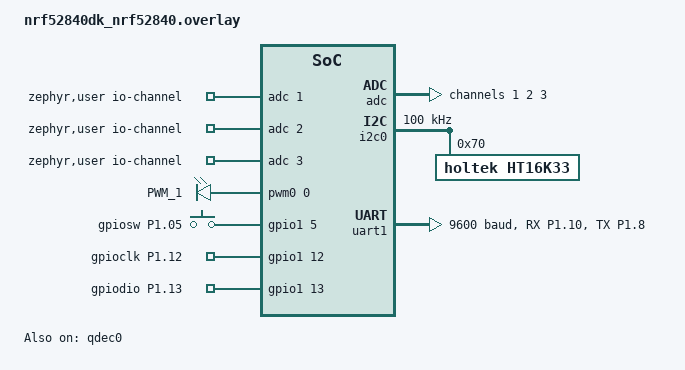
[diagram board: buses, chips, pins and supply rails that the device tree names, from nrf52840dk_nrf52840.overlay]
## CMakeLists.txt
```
cmake_minimum_required(VERSION 3.20.0)
find_package(Zephyr REQUIRED HINTS $ENV{ZEPHYR_BASE})

project(final_project)

FILE(GLOB app_sources src/*.c)
target_sources(app PRIVATE ${app_sources} src/map.s)
```

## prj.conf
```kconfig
CONFIG_SENSOR=y
CONFIG_PRINTK=y

CONFIG_ADC=y
CONFIG_GPIO=y
CONFIG_UART_INTERRUPT_DRIVEN=y
CONFIG_UART_ASYNC_API=y
CONFIG_LOG=y
CONFIG_I2C=y
CONFIG_LED=y
CONFIG_PWM=y
CONFIG_KSCAN=y
CONFIG_KSCAN_INIT_PRIORITY=95
CONFIG_HT16K33_KEYSCAN=y

CONFIG_USE_SEGGER_RTT=y
CONFIG_RTT_CONSOLE=y

CONFIG_BT=y
CONFIG_BT_DEBUG_LOG=y
CONFIG_BT_L2CAP_TX_BUF_COUNT=5
CONFIG_BT_PERIPHERAL=y


CONFIG_BT_DEVICE_NAME="My_Device"
CONFIG_BT_DEVICE_APPEARANCE=962

CONFIG_HEAP_MEM_POOL_SIZE=2048

# This example requires more workqueue stack
CONFIG_SYSTEM_WORKQUEUE_STACK_SIZE=2048
```

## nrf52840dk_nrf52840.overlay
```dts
// To get started, press Ctrl+Space (or Option+Esc) to bring up the completion menu and view the available nodes.

// You can also use the buttons in the sidebar to perform actions on nodes.
// Actions currently available include:

// * Enabling / disabling the node
// * Adding the bus to a bus
// * Removing the node
// * Connecting ADC channels

// For more help, browse the DeviceTree documentation at https://docs.zephyrproject.org/latest/guides/dts/index.html
// You can also visit the nRF DeviceTree extension documentation at https://nrfconnect.github.io/vscode-nrf-connect/devicetree/nrfdevicetree.html

// For JoyStick

/ {
    zephyr,user {
        io-channels = <&adc 1>, <&adc 2>, <&adc 3>;
    };

    pwmbuzzer {
        compatible = "pwm-leds";
        status = "okay";

        buzzer: buzzer_pwm {
            pwms = <&pwm0 0 PWM_MSEC(880) PWM_POLARITY_NORMAL>;
            label = "PWM_1";
        };
    };

		gpiocustom{
			status = "okay";
			compatible = "gpio-keys";
			gpiosw: gpiosw {
				gpios = <&gpio1 5 (GPIO_PULL_UP)>;
				label = "gpiosw P1.05";
			};

			gpioclk: gpioclk{
				gpios = <&gpio1 12 GPIO_ACTIVE_HIGH>;
				label = "gpioclk P1.12";
			};

			gpiodio: gpiodio{
				gpios = <&gpio1 13 GPIO_ACTIVE_HIGH>;
				label = "gpiodio P1.13";
			};
		};

		aliases {
			myserial = &uart1;
			gpio-clk = &gpioclk;
			gpio-dio = &gpiodio;
			qdec0 = &qdec0;
			gpio-sw = &gpiosw;
		};
};


&adc {
    #address-cells = <1>;
    #size-cells = <0>;

    channel@1 {
        reg = <1>;
        zephyr,gain = "ADC_GAIN_1";
        zephyr,reference = "ADC_REF_INTERNAL";
        zephyr,acquisition-time = <ADC_ACQ_TIME_DEFAULT>;
        zephyr,input-positive = <NRF_SAADC_AIN1>; /* P0.03 */
        zephyr,resolution = <10>;
        // zephyr,differential;
    };

    channel@2 {
        reg = <2>;
        zephyr,gain = "ADC_GAIN_1";
        zephyr,reference = "ADC_REF_INTERNAL";
        zephyr,acquisition-time = <ADC_ACQ_TIME_DEFAULT>;
        zephyr,input-positive = <NRF_SAADC_AIN2>; /* P0.04 */
        zephyr,resolution = <10>;
        // zephyr,differential;
    };

		channel@3 {
			reg = <3>;
			zephyr,gain = "ADC_GAIN_1";
			zephyr,reference = "ADC_REF_INTERNAL";
			zephyr,acquisition-time = <ADC_ACQ_TIME_DEFAULT>;
			zephyr,input-positive = <NRF_SAADC_AIN4>; /* A2 핀 */
			zephyr,resolution = <10>;
		};
};

// For Rotary Encoder

&pinctrl {
	qdec_pinctrl: qdec_pinctrl {
		group1 {
			psels = <NRF_PSEL(QDEC_A, 1, 4)>,   /* Arduino D3 */
				<NRF_PSEL(QDEC_B, 1, 3)>;   /* Arduino D2 */
		};
	};

	uart1_default: uart1_default {
		group1 {
			psels = <NRF_PSEL(UART_RX, 1, 10)>;
			bias-pull-up;
		};
		group2 {
			psels = <NRF_PSEL(UART_TX, 1, 8)>;
		};
	};

	uart1_sleep: uart1_sleep {
		group1 {
			psels = <NRF_PSEL(UART_RX, 1, 10)>,
				<NRF_PSEL(UART_TX, 1, 11)>;
			low-power-enable;
		};
	};
};

&qdec0 {
	status = "okay";
	pinctrl-0 = <&qdec_pinctrl>;
	pinctrl-names = "default";
	steps = < 20 >;
	led-pre = < 500 >;
};

// For battery display

&spi3 {
	status = "disabled";
};

// For LED Matrix


&i2c0 {
	clock-frequency = <I2C_BITRATE_STANDARD>;

	ht16k33@70 {
		compatible = "holtek,ht16k33";
		reg = <0x70>;

		keyscan {
			compatible = "holtek,ht16k33-keyscan";
		};
	};
};

// For CO2 sensor
arduino_serial: &uart1 {
	status = "okay";
	compatible = "nordic,nrf-uart";
	current-speed = <9600>;
	pinctrl-0 = <&uart1_default>;
	pinctrl-1 = <&uart1_sleep>;
	pinctrl-names = "default", "sleep";
};
```

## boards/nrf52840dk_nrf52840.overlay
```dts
// To get started, press Ctrl+Space (or Option+Esc) to bring up the completion menu and view the available nodes.

// You can also use the buttons in the sidebar to perform actions on nodes.
// Actions currently available include:

// * Enabling / disabling the node
// * Adding the bus to a bus
// * Removing the node
// * Connecting ADC channels

// For more help, browse the DeviceTree documentation at https://docs.zephyrproject.org/latest/guides/dts/index.html
// You can also visit the nRF DeviceTree extension documentation at https://nrfconnect.github.io/vscode-nrf-connect/devicetree/nrfdevicetree.html

// For JoyStick

/ {
    zephyr,user {
        io-channels = <&adc 1>, <&adc 2>, <&adc 3>;
    };

    pwmbuzzer {
        compatible = "pwm-leds";
        status = "okay";

        buzzer: buzzer_pwm {
            pwms = <&pwm0 0 PWM_MSEC(880) PWM_POLARITY_NORMAL>;
            label = "PWM_1";
        };
    };

		gpiocustom{
			status = "okay";
			compatible = "gpio-keys";
			gpiosw: gpiosw {
				gpios = <&gpio1 5 (GPIO_PULL_UP)>;
				label = "gpiosw P1.05";
			};

			gpioclk: gpioclk{
				gpios = <&gpio1 12 GPIO_ACTIVE_HIGH>;
				label = "gpioclk P1.12";
			};

			gpiodio: gpiodio{
				gpios = <&gpio1 13 GPIO_ACTIVE_HIGH>;
				label = "gpiodio P1.13";
			};
		};

		aliases {
			myserial = &uart1;
			gpio-clk = &gpioclk;
			gpio-dio = &gpiodio;
			qdec0 = &qdec0;
			gpio-sw = &gpiosw;
		};
};


&adc {
    #address-cells = <1>;
    #size-cells = <0>;

    channel@1 {
        reg = <1>;
        zephyr,gain = "ADC_GAIN_1";
        zephyr,reference = "ADC_REF_INTERNAL";
        zephyr,acquisition-time = <ADC_ACQ_TIME_DEFAULT>;
        zephyr,input-positive = <NRF_SAADC_AIN1>; /* P0.03 */
        zephyr,resolution = <10>;
        // zephyr,differential;
    };

    channel@2 {
        reg = <2>;
        zephyr,gain = "ADC_GAIN_1";
        zephyr,reference = "ADC_REF_INTERNAL";
        zephyr,acquisition-time = <ADC_ACQ_TIME_DEFAULT>;
        zephyr,input-positive = <NRF_SAADC_AIN2>; /* P0.04 */
        zephyr,resolution = <10>;
        // zephyr,differential;
    };

		channel@3 {
			reg = <3>;
			zephyr,gain = "ADC_GAIN_1";
			zephyr,reference = "ADC_REF_INTERNAL";
			zephyr,acquisition-time = <ADC_ACQ_TIME_DEFAULT>;
			zephyr,input-positive = <NRF_SAADC_AIN4>; /* A2 핀 */
			zephyr,resolution = <10>;
		};
};

// For Rotary Encoder

&pinctrl {
	qdec_pinctrl: qdec_pinctrl {
		group1 {
			psels = <NRF_PSEL(QDEC_A, 1, 4)>,   /* Arduino D3 */
				<NRF_PSEL(QDEC_B, 1, 3)>;   /* Arduino D2 */
		};
	};

	uart1_default: uart1_default {
		group1 {
			psels = <NRF_PSEL(UART_RX, 1, 10)>;
			bias-pull-up;
		};
		group2 {
			psels = <NRF_PSEL(UART_TX, 1, 8)>;
		};
	};

	uart1_sleep: uart1_sleep {
		group1 {
			psels = <NRF_PSEL(UART_RX, 1, 10)>,
				<NRF_PSEL(UART_TX, 1, 11)>;
			low-power-enable;
		};
	};
};

&qdec0 {
	status = "okay";
	pinctrl-0 = <&qdec_pinctrl>;
	pinctrl-names = "default";
	steps = < 20 >;
	led-pre = < 500 >;
};

// For battery display

&spi3 {
	status = "disabled";
};

// For LED Matrix


&i2c0 {
	clock-frequency = <I2C_BITRATE_STANDARD>;

	ht16k33@70 {
		compatible = "holtek,ht16k33";
		reg = <0x70>;

		keyscan {
			compatible = "holtek,ht16k33-keyscan";
		};
	};
};

// For CO2 sensor
arduino_serial: &uart1 {
	status = "okay";
	compatible = "nordic,nrf-uart";
	current-speed = <9600>;
	pinctrl-0 = <&uart1_default>;
	pinctrl-1 = <&uart1_sleep>;
	pinctrl-names = "default", "sleep";
};
```

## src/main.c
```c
#include <zephyr/kernel.h>
#include <zephyr/device.h>
#include <zephyr/devicetree.h>
#include <zephyr/sys/util.h>

#include "./include/led.h"
#include "./include/value.h"
#include "./include/gpios.h"
#include "./include/timer.h"
#include "./include/joy.h"
#include "./include/buzzer.h"
#include "./include/rotary.h"
#include "./include/batteryDisplay.h"
#include "./include/co2.h"
#include "./include/sound.h"
#include "./include/ble.h"

int busy;

int configuration(){

        int ret = DK_OK;
        busy = 0;

        // LED and buttons configuration (NRF52840's)
        ret = gpio_init();
        if (ret != DK_OK) {
            return DK_ERR;
        }

        // LED Matrix configuration
        ret = led_init();
        if(ret != DK_OK){
                printk("Error initializing LED\n");
                return DK_ERR;
        }

        // Init joystick
        ret = joystick_init();
        if (ret != DK_OK) {
                printk("Error initializing Joystick\n");
                return DK_ERR;
        }

        ret = buzzer_init();
        if (ret != DK_OK) {
                printk("Error initializing Buzzer\n");
                return DK_ERR;
        }

        // 로터리 인코더 초기화
        ret = rotary_init(); // rotary thread 시작
        if (ret != 0) {
                printk("Error initializing Rotary\n");
                return DK_ERR;
        } 
        
        // 배터리 디스플레이 초기화
        ret = batterydisplay_init();
        if(ret != DK_OK){
                printk("Error initializing battery display\n");
                return DK_ERR;
        }

        // INIT CO2
        ret = co2_init();
        if(ret != DK_OK){
                printk("Error initializing CO2\n");
                return DK_ERR;
        }

        // INIT sound sensor
        ret = sound_init();
        if(ret != DK_OK){
                printk("Error initializing Sound Sensor\n");
                return DK_ERR;
        }

        // INIT BLE
        ret = ble_init();
        if(ret != DK_OK){
                printk("Error initializing BLE\n");
                return DK_ERR;
        }

        display_clear();
        return DK_OK;
}

int main(void)
{
        
        printk("Program Start\n");

        int ret = configuration();
        if(ret == DK_ERR){
                printk("Configuration Error");
                return DK_ERR;
        }
        
        while(1) {
                if(!busy){
                        led_on_status(WAIT);
                }
                k_sleep(K_MSEC(100));
        }

        printk("End of main!");
        return DK_OK;
}
```

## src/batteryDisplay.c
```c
#include "./include/batteryDisplay.h"
#include "./include/value.h"

static int8_t leveltab[9] = {0x00,0x40,0x60,0x70,0x78,0x7c,0x7e,0x7f};//Level 0~7
static uint8_t cmd_dispctrl = DISPLAY_BRIGHTEST + BRIGHTNESS_LEVEL1;
static int setlevel = 0;

int batterydisplay_init(void)
{
    if (!gpio_is_ready_dt(&clk)) {
        printk("clk GPIO is not ready\n");
        return DK_ERR;
    }

    if (!gpio_is_ready_dt(&dio)) {
        printk("dio GPIO is not ready\n");
        return DK_ERR;
    }

    display_clear();
    printk("batterydisplay_init success\n");

    return DK_OK;
}

void set_brightness(int brightness)
{
    cmd_dispctrl = DISPLAY_BRIGHTEST + brightness;
}

void set_level(int level)
{
    setlevel = level;
}

void write_byte(int8_t wr_data)
{
    uint8_t data = wr_data;

    for (uint8_t i = 0; i < 8; i++) {
        gpio_pin_configure_dt(&clk, GPIO_OUTPUT);
        bit_delay();

        if (data & 0x01)
            gpio_pin_configure_dt(&dio, GPIO_INPUT);
        else
            gpio_pin_configure_dt(&dio, GPIO_OUTPUT);

        bit_delay();

        gpio_pin_configure_dt(&clk, GPIO_INPUT);
        bit_delay();

        data >>= 1;
    }

    gpio_pin_configure_dt(&clk, GPIO_OUTPUT);
    gpio_pin_configure_dt(&dio, GPIO_INPUT);
    bit_delay();

    gpio_pin_configure_dt(&clk, GPIO_INPUT);
    bit_delay();
    uint8_t ack = gpio_pin_get_dt(&dio);
    if (ack == 0) {
        gpio_pin_configure_dt(&dio, GPIO_OUTPUT);
    }

    bit_delay();
    gpio_pin_configure_dt(&clk, GPIO_OUTPUT);
    bit_delay();
}

void start(void)
{
    gpio_pin_configure_dt(&dio, GPIO_OUTPUT);
    bit_delay();
}

void stop(void)
{
    gpio_pin_configure_dt(&dio, GPIO_OUTPUT);
    bit_delay();

    gpio_pin_configure_dt(&clk, GPIO_INPUT);
    bit_delay();

    gpio_pin_configure_dt(&dio, GPIO_INPUT);
    bit_delay();
}

int display_level(uint8_t level)
{
    if(level > 7){
        printk("Invalid level\n");
        return DK_ERR;
    }

    if( setlevel == level){
        // printk("Same level\n");
        return DK_OK;
    }

    set_level(level);
    //printk("display_level: %d\n", level);

    start();
    write_byte(ADDR_FIXED);
    stop();

    start();
    write_byte(ADDR_CMD_00H);
    write_byte(leveltab[level]);
    stop();

    start();
    write_byte(cmd_dispctrl);
    stop();

    //printk("display_level success\n");

    return DK_OK;
}

void display_frame(bool frameflag)
{
    int8_t segdata;
    if (frameflag == FRAME_ON)
        segdata = 0x40;
    else
        segdata = 0x00;

    start();
    write_byte(ADDR_AUTO);
    stop();

    start();
    write_byte(ADDR_CMD_01H);
    for (uint8_t i = 0; i < 3; i++) {
        write_byte(segdata);
    }
    stop();

    start();
    write_byte(cmd_dispctrl);
    stop();
}

void display_clear(void)
{
    display_level(0);
    display_frame(FRAME_OFF);
}

void bit_delay(void)
{
    k_sleep(K_TICKS(1));
}
```

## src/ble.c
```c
#include <zephyr/types.h>
#include <stddef.h>
#include <string.h>
#include <errno.h>
#include <zephyr/sys/printk.h>
#include <zephyr/sys/byteorder.h>
#include <soc.h>

#include <zephyr/bluetooth/bluetooth.h>
#include <zephyr/bluetooth/hci.h>
#include <zephyr/bluetooth/conn.h>
#include <zephyr/bluetooth/uuid.h>
#include <zephyr/bluetooth/gatt.h>

#include "./include/ble.h"

static uint8_t mfg_data[] = { 0xff, 0xff, 0x00 };

#define BT_UUID_MY_SERVICE      BT_UUID_DECLARE_128(MY_SERVICE_UUID)
#define BT_UUID_MY_SERVICE_RX   BT_UUID_DECLARE_128(RX_CHARACTERISTIC_UUID)
#define BT_UUID_MY_SERVICE_TX   BT_UUID_DECLARE_128(TX_CHARACTERISTIC_UUID)

#define MAX_TRANSMIT_SIZE 240

uint8_t data_rx[MAX_TRANSMIT_SIZE];
uint8_t data_tx[MAX_TRANSMIT_SIZE];

static const struct bt_data ad[] = {
    BT_DATA(BT_DATA_MANUFACTURER_DATA, mfg_data, 3),
};

static const struct bt_data sd[] =
    {
        BT_DATA_BYTES(BT_DATA_UUID128_ALL, MY_SERVICE_UUID),
    };

struct bt_conn *my_connection;
struct k_sem ble_init_ok;

int my_service_init(void)
{
    int err = 0;

    memset(&data_rx, 0, MAX_TRANSMIT_SIZE);
    memset(&data_tx, 0, MAX_TRANSMIT_SIZE);

    return err;
}

static ssize_t on_receive(struct bt_conn *conn,
                          const struct bt_gatt_attr *attr,
                          const void *buf,
                          uint16_t len,
                          uint16_t offset,
                          uint8_t flags)
{
    const uint8_t *buffer = buf;

    printk("Received data, handle %d, conn %p, data: 0x", attr->handle, conn);
    for (uint8_t i = 0; i < len; i++)
    {
        printk("%02X", buffer[i]);
    }
    printk("\n");

    return len;
}

static void on_sent(struct bt_conn *conn, void *user_data)
{
    ARG_UNUSED(user_data);

    const bt_addr_le_t *addr = bt_conn_get_dst(conn);

    printk("Data sent to Address 0x %02X %02X %02X %02X %02X %02X \n", addr->a.val[0],
                                                                     addr->a.val[1],
                                                                     addr->a.val[2],
                                                                     addr->a.val[3],
                                                                     addr->a.val[4],
                                                                     addr->a.val[5]);
}

void on_cccd_changed(const struct bt_gatt_attr *attr, uint16_t value)
{
    ARG_UNUSED(attr);
    switch (value)
    {
    case BT_GATT_CCC_NOTIFY:
        // Start sending stuff!
        break;

    case BT_GATT_CCC_INDICATE:
        // Start sending stuff via indications
        break;

    case 0:
        // Stop sending stuff
        break;

    default:
        printk("Error, CCCD has been set to an invalid value");
    }
}

BT_GATT_SERVICE_DEFINE(my_service,
                       BT_GATT_PRIMARY_SERVICE(BT_UUID_MY_SERVICE),
                       BT_GATT_CHARACTERISTIC(BT_UUID_MY_SERVICE_RX,
                                              BT_GATT_CHRC_WRITE | BT_GATT_CHRC_WRITE_WITHOUT_RESP,
                                              BT_GATT_PERM_READ | BT_GATT_PERM_WRITE,
                                              NULL, on_receive, NULL),
                       BT_GATT_CHARACTERISTIC(BT_UUID_MY_SERVICE_TX,
                                              BT_GATT_CHRC_NOTIFY,
                                              BT_GATT_PERM_READ,
                                              NULL, NULL, NULL),
                       BT_GATT_CCC(on_cccd_changed,
                                   BT_GATT_PERM_READ | BT_GATT_PERM_WRITE), );

void my_service_send(struct bt_conn *conn, const uint32_t *data, uint16_t len)
{
    const struct bt_gatt_attr *attr = &my_service.attrs[3];

    struct bt_gatt_notify_params params =
        {
            .uuid = BT_UUID_MY_SERVICE_TX,
            .attr = attr,
            .data = data,
            .len = len,
            .func = on_sent};

    if (bt_gatt_is_subscribed(conn, attr, BT_GATT_CCC_NOTIFY))
    {
        if (bt_gatt_notify_cb(conn, &params))
        {
            printk("Error, unable to send notification\n");
        }
    }
    else
    {
        printk("Warning, notification not enabled on the selected attribute\n");
    }
}

static void connected(struct bt_conn *conn, uint8_t err)
{
    struct bt_conn_info info;
    char addr[BT_ADDR_LE_STR_LEN];

    my_connection = conn;

    if (err)
    {
        printk("Connection failed (err %u)\n", err);
        return;
    }
    else if (bt_conn_get_info(conn, &info))
    {
        printk("Could not parse connection info\n");
    }
    else
    {
        bt_addr_le_to_str(bt_conn_get_dst(conn), addr, sizeof(addr));

        printk("Connection established!     \n\
        Connected to: %s                    \n\
        Role: %u                            \n\
        Connection interval: %u             \n\
        Slave latency: %u                   \n\
        Connection supervisory timeout: %u  \n",
               addr, info.role, info.le.interval, info.le.latency, info.le.timeout);
    }
}

static void disconnected(struct bt_conn *conn, uint8_t reason)
{
    printk("Disconnected (reason %u)\n", reason);
}

static bool le_param_req(struct bt_conn *conn, struct bt_le_conn_param *param)
{
    return true;
}

static void le_param_updated(struct bt_conn *conn, uint16_t interval, uint16_t latency, uint16_t timeout)
{
    struct bt_conn_info info;
    char addr[BT_ADDR_LE_STR_LEN];

    if (bt_conn_get_info(conn, &info))
    {
        printk("Could not parse connection info\n");
    }
    else
    {
        bt_addr_le_to_str(bt_conn_get_dst(conn), addr, sizeof(addr));

        printk("Connection parameters updated!  \n\
        Connected to: %s                        \n\
        New Connection Interval: %u             \n\
        New Slave Latency: %u                   \n\
        New Connection Supervisory Timeout: %u  \n",
               addr, info.le.interval, info.le.latency, info.le.timeout);
    }
}

static struct bt_conn_cb conn_callbacks =
    {
        .connected = connected,
        .disconnected = disconnected,
        .le_param_req = le_param_req,
        .le_param_updated = le_param_updated};

static void bt_ready(int err)
{
    if (err)
    {
        printk("BLE init failed with error code %d\n", err);
        return;
    }

    bt_conn_cb_register(&conn_callbacks);

    err = my_service_init();
    if (err)
    {
        printk("Failed to init my_service (err:%d)\n", err);
        return;
    }

    err = bt_le_adv_start(BT_LE_ADV_CONN, ad, ARRAY_SIZE(ad), sd, ARRAY_SIZE(sd));
    if (err)
    {
        printk("Advertising failed to start (err %d)\n", err);
        return;
    }

    printk("Advertising successfully started\n");

    k_sem_give(&ble_init_ok);
}

static void error(void)
{
    while (true) {
        printk("Error!\n");
        /* Spin for ever */
        k_sleep(K_MSEC(1000)); //1000ms
    }
}

int ble_init(void)
{
    int err;

    k_sem_init(&ble_init_ok, 0, 1);
    err = bt_enable(bt_ready);

    if (err)
    {
        printk("BLE initialization failed\n");
        return -1;
    }

    err = k_sem_take(&ble_init_ok, K_MSEC(500));

    if (!err)
    {
        printk("Bluetooth initialized\n");
    }
    else
    {
        printk("BLE initialization did not complete in time\n");
        return -1;
    }
    return 0;
}
```

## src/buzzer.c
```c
#include <zephyr/zephyr.h>
#include <zephyr/device.h>
#include <zephyr/sys/printk.h>

#include "./include/buzzer.h"

int buzzer_init()
{
    printk("PWM-based buzzer control\n");

    if (!device_is_ready(pwm)) {
        printk("Error: PWM device %s is not ready\n", pwm->name);
        return -1;
    }
    return 0;
}

void buzzer_on(uint32_t hz, uint32_t time){
  int ret = pwm_set_dt(&pwm_spec, (uint32_t)(1/(float)hz*1000000000), 150000);
  if (ret < 0) {
      printk("Error %d: failed to set pulse width\n", ret);
      return;
  }

  k_sleep(K_MSEC(time));
}

void buzzer_off(uint32_t time){
  // Turn off the buzzer
  int ret = pwm_set_dt(&pwm_spec, PWM_HZ(1000), 0);
  if (ret < 0) {
      printk("Error %d: failed to set pulse width\n", ret);
      return;
  }
  k_sleep(K_MSEC(time));
}
```

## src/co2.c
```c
/*
 * Copyright (c) 2022 Libre Solar Technologies GmbH
 *
 * SPDX-License-Identifier: Apache-2.0
 */

#include <zephyr/kernel.h>
#include <zephyr/device.h>
#include <zephyr/drivers/uart.h>
#include <string.h>
#include "./include/value.h"
#include "./include/co2.h"
#include "./include/led.h"
#include "./include/ble.h"

struct k_work co2_work;
int co2_percent;
bool co2_work_pending;
extern int busy;

int co2_init(){
  if (!device_is_ready(uart_serial)) {
		printk("UART device not found!");
		return DK_ERR;
	}

	int ret = uart_irq_callback_user_data_set(uart_serial, serial_callback, NULL);

	if(ret < 0){
		if(ret == -ENOTSUP){
			printk("Interrupt-driven UART API support not enabled\n");
		}else if(ret == -ENOSYS){
			printk("UART device does not support interrupt-driven API\n");
		}else{
			printk("Error setting UART callback: %d\n",ret);
		}
		return DK_ERR;
	}
  co2_percent = 0;
  co2_work_pending = false;
	uart_irq_rx_enable(uart_serial);
  k_work_init(&co2_work, co2_work_handler);
  return DK_OK;
}

uint8_t check_uart_fsm(uint8_t reset, uint8_t read_data) {
	if(reset)
	   uart_fsm_state = UART_FSM_IDLE;
	else 
	    switch (uart_fsm_state) {
		case UART_FSM_IDLE:
			if (read_data == 0xFF) {
				uart_fsm_state = UART_FSM_HEADER;
			}
			break;
		case UART_FSM_HEADER:
			if (read_data == 0x86) {
				uart_fsm_state = UART_FSM_DATA;
			} else {
				uart_fsm_state = UART_FSM_IDLE;
			}
			break;
		case UART_FSM_DATA:
			if (rx_buf_pos == MSG_SIZE - 2) {
				uart_fsm_state = UART_FSM_CHECKSUM;
			}
			break;
		case UART_FSM_CHECKSUM:
			if (rx_buf_pos == MSG_SIZE - 1) {
				uart_fsm_state = UART_FSM_END;
			}
			break;
		case UART_FSM_END:
			uart_fsm_state = UART_FSM_IDLE;
			break;
		default:
			uart_fsm_state = UART_FSM_IDLE;
			break;
	}
	return uart_fsm_state;
}


unsigned char getCheckSum(char *packet) {
	unsigned char i, checksum=0;
	for( i = 1; i < 8; i++) {
		checksum += packet[i];
	}
	checksum = 0xff - checksum;
	checksum += 1;
	return checksum;
}

void serial_callback(const struct device *dev, void *user_data) {
	uint8_t c, high, low;
	char checksum_ok, value_calc_flag;
	int checksum;

	if (!uart_irq_update(uart_serial)) {
		printk("irq_update Error\n");
		return;
	}

	if (!uart_irq_rx_ready(uart_serial)) {
		printk("irq_ready: No data\n");
		return;
	}

	/* read until FIFO empty */
	while (uart_fifo_read(uart_serial, &c, 1) == 1) {
		// for recovery
		if (uart_fsm_state == UART_FSM_IDLE) {
			rx_buf_pos = 0;
		}
		check_uart_fsm(0,c);

		if (rx_buf_pos >= MSG_SIZE) {
			rx_buf_pos = 0;
		}
		rx_buf[rx_buf_pos++] = c;
	}

	// calculate checksum, and compare with received checksum
	if(uart_fsm_state == UART_FSM_END){
	  checksum = getCheckSum(rx_buf);
	  checksum_ok = (checksum == rx_buf[8]);
	  if (checksum_ok) {
		  // printk("Checksum OK (%d == %d, index=%d)\n", checksum, rx_buf[8], rx_buf_pos);
	 
	     // check if we received all data and checksum is OK
	    value_calc_flag = (rx_buf_pos == MSG_SIZE);
	    if (value_calc_flag) {
        high = rx_buf[2];
        low = rx_buf[3];
        int ppm = (high * CO2_MULTIPLIER) + low;
        printk("CO2: %d ppm (high = %d, low = %d)\n", ppm , high, low);
		
		char message[100];
		snprintf(message, sizeof(message), "CO2: %d ppm", ppm);
        my_service_send(my_connection, (uint32_t *)message, strlen(message));
        co2_percent = (float)ppm / CO2_MAX_VALUE * 100;
        printk("check: %d\n",co2_percent);
        // print message buffer
        for (int i = 0; i < MSG_SIZE; i+=1) {
          printk("%x ", rx_buf[i]);
        }
        printk("\n");
		  }
	  } 
	  else {
		printk("Checksum failed (%d == %d, index=%d)\n", checksum, rx_buf[8], rx_buf_pos);
	  }
	  check_uart_fsm(1,0); // reset
	}
  if (!co2_work_pending) {
    co2_work_pending = true;
    k_work_submit(&co2_work);
  }
}

void serial_write() {
	uint8_t tx_buf[MSG_SIZE] = {0xFF, 0x01, 0x86, 0x00, 0x00, 0x00, 0x00, 0x00, 0x79};
	for (int i = 0; i < MSG_SIZE; i+=1) {
		uart_poll_out(uart_serial, tx_buf[i]);
	}
}

void co2_work_handler(struct k_work *work){
  printk("Enter co2_work_handler: %d\n",co2_percent);
  busy = 1;
  led_on_percentage(co2_percent);
  k_sleep(K_SECONDS(3));
  co2_work_pending = false;
  busy=0;
  printk("Leaving co2_work_handler\n");
}
```

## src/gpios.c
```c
#include <zephyr/sys/util.h>

#include "./include/gpios.h"
#include "./include/timer.h"
#include "./include/led.h"
#include "./include/batteryDisplay.h"
#include "./include/sound.h"

static struct gpio_callback button0_cb_data; // Game 진입
static struct gpio_callback button1_cb_data;
static struct gpio_callback button2_cb_data;
static struct gpio_callback button3_cb_data;

extern int busy;

void button0_callback(const struct device *dev, struct gpio_callback *cb, uint32_t pins)
{
    printk("Button 0 pressed\n");
    if(busy == 1){
        return;
    }
    busy = 1;
    if (timer_stopped) {
        timer_stopped = false;  // 타이머가 시작됨을 표시
        seconds = 0;  // 타이머 초기화 
        //display_level(4);
        k_timer_start(&my_timer, K_SECONDS(timer_period), K_SECONDS(timer_period));  // 타이머 시작
        printk("Timer started\n");
    }
}

void button1_callback(const struct device *dev, struct gpio_callback *cb, uint32_t pins)
{
    printk("Button 1 pressed\n");
    if(busy==1){
        return;
    }
    serial_write();
}

void button2_callback(const struct device *dev, struct gpio_callback *cb, uint32_t pins)
{
    printk("Button 2 pressed\n");
    if(sound_mode_on && busy){
        printk("turning off sound mode\n"); 
        turn_off_sound_mode();
        printk("sound mode on: %d, busy: %d\n",sound_mode_on,busy);
    }
    else if(!sound_mode_on && !busy){
        printk("turning on sound mode\n"); 
        turn_on_sound_mode();
        printk("sound mode on: %d, busy: %d\n",sound_mode_on,busy);
    }
}

void button3_callback(const struct device *dev, struct gpio_callback *cb, uint32_t pins)
{
    printk("Button 3 pressed\n");
    int ret;
    ret = gpio_pin_toggle_dt(&led3);
    if (ret < 0) {
            return;
    }
}

int gpio_init(void)
{
    int err = GPIO_FAIL;

    // Set butto0 interrupt
    printk("Setting button0 interrupt\n");

    err = gpio_is_ready_dt(&button0);
    if (!err) {
        printk("Error gpio_is_ready_dt led0 pin %d\n", err);
        return GPIO_FAIL;
    }

    err = gpio_pin_configure_dt(&button0, GPIO_INPUT | GPIO_PULL_UP);
    if (err < 0) {
        printk("Error configuring button0 pin %d\n", err);
        return GPIO_FAIL;
    }

    err = gpio_pin_interrupt_configure_dt(&button0, GPIO_INT_EDGE_TO_ACTIVE);
    if (err != 0) {
        printk("Error configuring interrupt on button0 pin %d\n", err);
        return GPIO_FAIL;
    }
    gpio_init_callback(&button0_cb_data, button0_callback, BIT(button0.pin));
    gpio_add_callback(button0.port, &button0_cb_data);


    // Set button1 interrupt
    printk("Setting button1 interrupt\n");
    err = gpio_is_ready_dt(&button1);
    if (!err) {
        printk("Error gpio_is_ready_dt led1 pin %d\n", err);
        return GPIO_FAIL;
    }

    err = gpio_pin_configure_dt(&button1, GPIO_INPUT | GPIO_PULL_UP);
    if (err < 0) {
        printk("Error configuring button1 pin %d\n", err);
        return GPIO_FAIL;
    }

    err = gpio_pin_interrupt_configure_dt(&button1, GPIO_INT_EDGE_TO_ACTIVE);
    if (err != 0) {
        printk("Error configuring interrupt on button1 pin %d\n", err);
        return GPIO_FAIL;
    }
    gpio_init_callback(&button1_cb_data, button1_callback, BIT(button1.pin));
    gpio_add_callback(button1.port, &button1_cb_data);

    // Set button2 interrupt
    printk("Setting button2 interrupt\n");
    err = gpio_is_ready_dt(&button2);
    if (!err) {
        printk("Error gpio_is_ready_dt led2 pin %d\n", err);
        return GPIO_FAIL;
    }

    err = gpio_pin_configure_dt(&button2, GPIO_INPUT | GPIO_PULL_UP);
    if (err < 0) {
        printk("Error configuring button2 pin %d\n", err);
        return GPIO_FAIL;
    }

    err = gpio_pin_interrupt_configure_dt(&button2, GPIO_INT_EDGE_TO_ACTIVE);
    if (err != 0) {
        printk("Error configuring interrupt on button2 pin %d\n", err);
        return GPIO_FAIL;
    }
    gpio_init_callback(&button2_cb_data, button2_callback, BIT(button2.pin));
    gpio_add_callback(button2.port, &button2_cb_data);

    // Set button3 interrupt
    printk("Setting button3 interrupt\n");
    err = gpio_is_ready_dt(&button3);
    if (!err) {
        printk("Error gpio_is_ready_dt led3 pin %d\n", err);
        return GPIO_FAIL;
    }

    err = gpio_pin_configure_dt(&button3, GPIO_INPUT | GPIO_PULL_UP);
    if (err < 0) {
        printk("Error configuring button3 pin %d\n", err);
        return GPIO_FAIL;
    }

    err = gpio_pin_interrupt_configure_dt(&button3, GPIO_INT_EDGE_TO_ACTIVE);
    if (err != 0) {
        printk("Error configuring interrupt on button3 pin %d\n", err);
        return GPIO_FAIL;
    }
    gpio_init_callback(&button3_cb_data, button3_callback, BIT(button3.pin));
    gpio_add_callback(button3.port, &button3_cb_data);
    
    /* LED setting (nrf52840) - unuse
    // Set led0
    err = gpio_is_ready_dt(&led0);
    if (!err) {
        printk("Error gpio_is_ready_dt led0 pin %d\n", err);
        return GPIO_FAIL;
    }

    err = gpio_pin_configure_dt(&led0, GPIO_OUTPUT_ACTIVE);
    if (err < 0) {
        printk("Error %d: failed to configure LED0 pin\n", err);
        return GPIO_FAIL;
    }

    // Set led1
    err = gpio_is_ready_dt(&led1);
    if (!err) {
        printk("Error gpio_is_ready_dt led1 pin %d\n", err);
        return GPIO_FAIL;
    }

    err = gpio_pin_configure_dt(&led1, GPIO_OUTPUT_ACTIVE);
    if (err < 0) {
        printk("Error %d: failed to configure LED1 pin\n", err);
        return GPIO_FAIL;
    }

    // Set led2
    err = gpio_is_ready_dt(&led2);
    if (!err) {
        printk("Error gpio_is_ready_dt led2 pin %d\n", err);
        return GPIO_FAIL;
    }

    err = gpio_pin_configure_dt(&led2, GPIO_OUTPUT_ACTIVE);
    if (err < 0) {
        printk("Error %d: failed to configure LED2 pin\n", err);
        return GPIO_FAIL;
    }

    // Set led3
    err = gpio_is_ready_dt(&led3);
    if (!err) {
        printk("Error gpio_is_ready_dt led3 pin %d\n", err);
        return GPIO_FAIL;
    }

    err = gpio_pin_configure_dt(&led3, GPIO_OUTPUT_ACTIVE);
    if (err < 0) {
        printk("Error %d: failed to configure LED3 pin\n", err);
        return GPIO_FAIL;
    }

    */

    return GPIO_OK;
}
```

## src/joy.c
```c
#include <inttypes.h>
#include <stddef.h>
#include <stdint.h>

#include <zephyr/device.h>
#include <zephyr/devicetree.h>
#include <zephyr/drivers/adc.h>
#include <zephyr/kernel.h>
#include <zephyr/sys/printk.h>
#include <zephyr/sys/util.h>

#include "./include/led.h"
#include "./include/joy.h"

#define STACK_SIZE 1024
#define PRIORITY 7

K_THREAD_STACK_DEFINE(joystick_stack, STACK_SIZE);
struct k_thread joystick_thread_data;
static bool stop_thread = false;


// 조이스틱 관련 전역 변수
static const int ADC_MAX = 1023;
static const int MIDDLE = ADC_MAX / 2;
int32_t nowX = MIDDLE, nowY = MIDDLE; // Initial Position

#if !DT_NODE_EXISTS(DT_PATH(zephyr_user)) || \
    !DT_NODE_HAS_PROP(DT_PATH(zephyr_user), io_channels)
#error "No suitable devicetree overlay specified"
#endif

#define DT_SPEC_AND_COMMA(node_id, prop, idx) \
    ADC_DT_SPEC_GET_BY_IDX(node_id, idx),

/* Data of ADC io-channels specified in devicetree. */
const struct adc_dt_spec joy_adc_channels[] = {
    DT_FOREACH_PROP_ELEM(DT_PATH(zephyr_user), io_channels,
                         DT_SPEC_AND_COMMA)
};

void read_adc(const struct adc_dt_spec *adc_channel, int32_t *value)
{
    uint16_t buf;
    struct adc_sequence sequence = {
        .buffer = &buf,
        .buffer_size = sizeof(buf),
    };
    (void)adc_sequence_init_dt(adc_channel, &sequence);
    int err = adc_read(adc_channel->dev, &sequence);
    if (err < 0) {
        printk("Could not read (%d)\n", err);
    } else {
        *value = (int32_t)buf;
    }
}

void joystick_thread(void *arg1, void *arg2, void *arg3)
{
    while (!stop_thread) {
        //read_adc(&joy_adc_channels[0], &nowX);
        read_adc(&joy_adc_channels[1], &nowY);

        if(nowY == ADC_MAX) nowY = MIDDLE;
        else if(nowY > 65500) nowY = 0;

        //printk("Joy X: %" PRIu32 ", ", nowX);
        // printk("Joy Y: %" PRIu32 "\n", nowY);

        k_sleep(K_MSEC(100)); // 주기적으로 조이스틱 값을 읽어들임
    }
}

void start_joystick_thread(void)
{   
    stop_thread = false;
    k_thread_create(&joystick_thread_data, joystick_stack,
                    K_THREAD_STACK_SIZEOF(joystick_stack),
                    joystick_thread,
                    NULL, NULL, NULL,
                    PRIORITY, 0, K_NO_WAIT);
}

void stop_joystick_thread(void){
    stop_thread = true;
    k_thread_join(&joystick_thread_data, K_FOREVER);
}

int joyCheckMove(void) // current checking for only y axis
{
    if (nowY > MIDDLE) {
        return UP; 
    } else if (nowY < MIDDLE) {
        return DOWN;
    }
    return STAY; // 움직임 없음
}

int joystick_init(void)
{
    int err;

    // Joystick용 ADC 채널 초기화
    for (size_t i = 0U; i < ARRAY_SIZE(joy_adc_channels)-1; i++) {
        if (!adc_is_ready_dt(&joy_adc_channels[i])) {
            printk("ADC controller device %s not ready\n", joy_adc_channels[i].dev->name);
            return -1;
        }

        err = adc_channel_setup_dt(&joy_adc_channels[i]);
        if (err < 0) {
            printk("Could not setup channel #%d (%d)\n", i, err);
            return -1;
        }
    }
    return 0;
}
```

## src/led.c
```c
#include "./include/led.h"
#include "./include/value.h"
#include "./include/batteryDisplay.h"
int number_led_matrix_arr [MAX_LED_MATRIX_IDX][MAX_LED_MATRIX_NUM];
int led_matrix_arr [3][MAX_LED_NUM];
int led_map [MAX_LED_MATRIX_ROW][MAX_LED_MATRIX_COL*MAP_INTERVAL];
int mapLength = MAX_LED_MATRIX_COL * MAP_INTERVAL;
int error_sign[MAX_LED_MATRIX_NUM+1];

int carPose = MID;
int last_start_col;
int car_offset;

// Function to initialize the LED matrix
int led_init(void)
{
    if(!device_is_ready(led)){
        printk("LED device %s is not ready\n", led->name);
        return DK_ERR;
    }

    for(int i = 0; i< MAX_LED_NUM; i++){
        led_off(led, i);
    }

    led_set_brightness(led, 0, INIT_BRIGHTNESS);

    return DK_OK;
}

// LEDs of Car

void led_mid(int on, int offset){
    for(int i = 49; i < 68 ; i+=16){
        for(int j = i ; j < i+3 ; j++){
            if(j==66) continue;
            if(on) led_on(led, j+offset);
            else led_off(led, j+offset);
        }
    }
}

void led_top(int on, int offset){
    for(int i = 1; i < 20 ; i+=16){
        for(int j = i ; j < i+3 ; j++){
            if(j==18) continue;
            if(on) led_on(led, j+offset);
            else led_off(led, j+offset);
        }
    }
}

void led_bot(int on, int offset){
    for(int i = 97; i < 116 ; i+=16){
        for(int j = i ; j < i+3 ; j++){
            if(j==114) continue;
            if(on) led_on(led, j+offset);
            else led_off(led, j+offset);
        }
    }
}

void led_on_top(int offset){
    led_top(ON,offset);
    led_mid(OFF,offset);
    led_bot(OFF,offset);
}

void led_on_mid(int offset){
    led_top(OFF,offset);
    led_mid(ON,offset);
    led_bot(OFF,offset);
}

void led_on_bot(int offset){
    led_top(OFF,offset);
    led_mid(OFF,offset);
    led_bot(ON,offset);
}


// LED TEXT DISPLAY

void led_on_seconds(int num)
{
    int tens = num / 10;
    int units = num % 10;

    int num_arr_idx = 0;

    for(int i = 0; i < MAX_LED_NUM; i+=16){
        for(int j = i; j < (i+8); j++){
            if(number_led_matrix_arr[tens][num_arr_idx] == 1){
                // printk("[tens] led_on: j:[%d] num_array_idx[%d]\n", j, num_arr_idx);
                led_on(led, j);
            } else {
                led_off(led, j);
            }

            num_arr_idx++;
        }
    }

    num_arr_idx = 0;

    for(int i = 0; i < MAX_LED_NUM; i+=16){
        for(int j = (i+8); j < (i+16); j++){
            if(number_led_matrix_arr[units][num_arr_idx] == 1){
                // printk("[units] led_on: j:[%d] num_array_idx[%d]\n", j, num_arr_idx);
                led_on(led, j);
            } else {
                led_off(led, j);
            }
            num_arr_idx++;
        }
    }
}

void led_on_percentage(int value){
    int level = 16 * value / 100;
    if(level < 1){
        int num_arr_idx = 0;
        for(int i = 0; i < MAX_LED_NUM; i+=16){
            for(int j = i; j < (i+8); j++){
                if(error_sign[num_arr_idx] == 1){
                    led_on(led, j);
                } else {
                    led_off(led, j);
                }
                num_arr_idx++;
            }
        }
        num_arr_idx = 0;
        for(int i = 0; i < MAX_LED_NUM; i+=16){
            for(int j = (i+8); j < (i+16); j++){
                if(error_sign[num_arr_idx] == 1){
                    led_on(led, j);
                } else {
                    led_off(led, j);
                }
                num_arr_idx++;
            }
        }
        return;
    }
    for(int i=0;i<MAX_LED_NUM;i++){
        if(i%16 < level){
            led_on(led, i);
        }
        else{
            led_off(led, i);
        }
    }
}

void led_on_status(int type){
    for(int i = 0; i < MAX_LED_NUM; i++){
        if(led_matrix_arr[type][i] == 1){
            // printk("[tens] led_on: j:[%d] num_array_idx[%d]\n", j, num_arr_idx);
            led_on(led, i);
        } else {
            led_off(led, i);
        }
    }
}

void led_blink_status(int type, uint32_t on_time, uint32_t off_time){
    for(int i = 0 ; i <MAX_LED_NUM; i++){
        if(led_matrix_arr[type][i]){
            led_blink(led, i, on_time, off_time);
        }
    }
    k_msleep(3000);
    led_blink(led, 0, 0, 0);
}

int check_collision(int carX, int carY) { // top-left point of the car
    for (int i = 0; i <= 2; i++) {
        if (led_map[carX][carY + i] == 1 || led_map[carX+1][carY + i] == 1) {
            printk("carX: %d, carY: %d => collision\n", carX, carY);
            return 2; // Fail
        }
    }
    return 0;
}


// FOR GAME

int show_map(int second, int move){

    printk("carPose: %d\n", carPose);

    if(second == 0){
        carPose = MID; // Pose Init
        last_start_col = 0;
        car_offset = 0;
        printk("offset: %d\n",car_offset);
    }

    // MAP
    int start_col;
    if(last_start_col != 0){
        start_col = last_start_col;
        car_offset++;
        printk("offset: %d\n",car_offset);
    }
    else{
        start_col = second % (mapLength + 1 - MAX_LED_MATRIX_COL); // 시작 열 계산
        if((start_col+1)%(mapLength + 1 - MAX_LED_MATRIX_COL)  == 0){
            last_start_col = start_col;
        }
    }

    for (int row = 0; row < 8; row++) {
        for (int col = 0; col < 16; col++) {
            int led_index = row * 16 + col;
            if (led_map[row][start_col + col]) {
                led_on(led, led_index); // 해당 LED를 켜기
            } else {
                led_off(led, led_index); // 해당 LED를 끄기
            }
        }
    }

    if(car_offset == 9) return 1;
    // CAR

    // Car Movement Check

    if(move == UP){
        if(carPose != TOP){ // 이미 TOP에 있는 경우는 제외
            carPose--;
        }
    }
    else if(move == DOWN){
        printk("moveDown!\n");
        if(carPose != BOT){ // 이미 BOT에 있는 경우는 제외
            carPose++;
        }
    }

    // Car Draw
    if(carPose == MID){
        led_on_mid(car_offset);
        printk("check collision: MID, start_col: %d\n", start_col);
        return check_collision(3, start_col+1);
    }
    else if(carPose == TOP){
        led_on_top(car_offset);
        return check_collision(0, start_col+1);
    }
    else{
        led_on_bot(car_offset);
        return check_collision(6, start_col+1);
    }

    return 0;

}

int led_matrix_arr [3][MAX_LED_NUM]= {
    {//WAIT
        0,0,0,0,0, 0,0,0,0, 0, 0,0,0, 0,0,0,
        0,0,0,0,0, 0,0,0,0, 0, 0,0,0, 0,0,0,
        1,0,1,0,1, 0,1,1,0, 0, 1,1,1, 1,1,1,
        1,0,1,0,1, 1,0,0,1, 0, 0,1,0, 0,1,0,
        1,0,1,0,1, 1,1,1,1, 0, 0,1,0, 0,1,0,
        1,0,1,0,1, 1,0,0,1, 0, 0,1,0, 0,1,0,
        0,1,0,1,0, 1,0,0,1, 0, 1,1,1, 0,1,0,
        0,0,0,0,0, 0,0,0,0, 0, 0,0,0, 0,0,0
    },
    {//PASS
        0,0,0,0,0,0,0,0,0,0,0,0,0,0,0,0,
        0,0,0,0,0,0,0,0,0,0,0,0,0,0,0,0,
        1,1,1,0,0,1,1,0,1,1,1,1,1,1,1,1,
        1,0,0,1,1,0,0,1,1,0,0,0,1,0,0,0,
        1,1,1,0,1,1,1,1,1,1,1,1,1,1,1,1,
        1,0,0,0,1,0,0,1,0,0,0,1,0,0,0,1,
        1,0,0,0,1,0,0,1,1,1,1,1,1,1,1,1,
        0,0,0,0,0,0,0,0,0,0,0,0,0,0,0,0
    },
    {//FAIL
        0,0,0,0,0,0,0,0, 0,0,0,0, 0,0,0,0,
        0,0,0,0,0,0,0,0, 0,0,0,0, 0,0,0,0,
        1,1,1,1,0,1,0,0, 1,1,1,0, 1,0,0,0,
        1,0,0,0,1,0,1,0, 0,1,0,0, 1,0,0,0,
        1,1,1,0,1,1,1,0, 0,1,0,0, 1,0,0,0,
        1,0,0,1,0,0,0,1, 0,1,0,0, 1,0,0,0,
        1,0,0,1,0,0,0,1, 1,1,1,0, 1,1,1,1,
        0,0,0,0,0,0,0,0, 0,0,0,0, 0,0,0,0
    }
};

int number_led_matrix_arr [MAX_LED_MATRIX_IDX][MAX_LED_MATRIX_NUM]= {

    { // 0
        0,0,0,1,1,1,0,0,
        0,0,1,0,0,0,1,0,
        0,0,1,0,0,0,1,0,
        0,0,1,0,0,0,1,0,
        0,0,1,0,0,0,1,0,
        0,0,1,0,0,0,1,0,
        0,0,1,0,0,0,1,0,
        0,0,0,1,1,1,0,0
    },
    { // 1
        0,0,0,0,1,0,0,0,
        0,0,0,1,1,0,0,0,
        0,0,1,0,1,0,0,0,
        0,0,0,0,1,0,0,0,
        0,0,0,0,1,0,0,0,
        0,0,0,0,1,0,0,0,
        0,0,0,0,1,0,0,0,
        0,0,1,1,1,1,1,0
    },
    { // 2
        0,0,0,0,1,0,0,0,
        0,0,0,1,0,1,0,0,
        0,0,1,0,0,0,1,0,
        0,0,0,0,0,1,0,0,
        0,0,0,0,1,0,0,0,
        0,0,0,1,0,0,0,0,
        0,0,1,0,0,0,0,0,
        0,0,1,1,1,1,1,0
    },
    { // 3
        0,0,1,1,1,1,0,0,
        0,0,0,0,0,0,1,0,
        0,0,0,0,0,0,1,0,
        0,0,1,1,1,1,0,0,
        0,0,0,0,0,0,1,0,
        0,0,0,0,0,0,1,0,
        0,0,0,0,0,0,1,0,
        0,0,1,1,1,1,0,0
    },
    { // 4
        0,0,0,0,0,1,0,0,
        0,0,0,0,1,1,0,0,
        0,0,0,1,0,1,0,0,
        0,0,1,0,0,1,0,0,
        0,1,1,1,1,1,1,0,
        0,0,0,0,0,1,0,0,
        0,0,0,0,0,1,0,0,
        0,0,0,0,0,1,0,0
    },
    { // 5
        0,0,1,1,1,1,1,0,
        0,0,1,0,0,0,0,0,
        0,0,1,0,0,0,0,0,
        0,0,1,1,1,1,0,0,
        0,0,0,0,0,0,1,0,
        0,0,0,0,0,0,1,0,
        0,0,1,0,0,0,1,0,
        0,0,0,1,1,1,0,0
    },
    { // 6
        0,0,0,1,1,1,0,0,
        0,0,1,0,0,0,0,0,
        0,0,1,0,0,0,0,0,
        0,0,1,1,1,1,0,0,
        0,0,1,0,0,0,1,0,
        0,0,1,0,0,0,1,0,
        0,0,1,0,0,0,1,0,
        0,0,0,1,1,1,0,0
    },
    { // 7
        0,0,1,1,1,1,1,0,
        0,0,1,0,0,0,1,0,
        0,0,1,0,0,0,1,0,
        0,0,1,0,0,0,1,0,
        0,0,0,0,0,0,1,0,
        0,0,0,0,0,0,1,0,
        0,0,0,0,0,0,1,0,
        0,0,0,0,0,0,1,0
    },
    { // 8
        0,0,0,1,1,1,0,0,
        0,0,1,0,0,0,1,0,
        0,0,1,0,0,0,1,0,
        0,0,0,1,1,1,0,0,
        0,0,1,0,0,0,1,0,
        0,0,1,0,0,0,1,0,
        0,0,1,0,0,0,1,0,
        0,0,0,1,1,1,0,0
    },
    { // 9
        0,0,0,1,1,1,0,0,
        0,0,1,0,0,0,1,0,
        0,0,1,0,0,0,1,0,
        0,0,1,0,0,0,1,0,
        0,0,0,1,1,1,1,0,
        0,0,0,0,0,0,1,0,
        0,0,0,0,0,0,1,0,
        0,0,0,0,0,0,1,0
    }
};

int error_sign[MAX_LED_MATRIX_NUM+1] = {
    1,0,0,0,0,0,0,1,
    0,1,0,0,0,0,1,0,
    0,0,1,0,0,1,0,0,
    0,0,0,1,1,0,0,0,
    0,0,0,1,1,0,0,0,
    0,0,1,0,0,1,0,0,
    0,1,0,0,0,0,1,0,
    1,0,0,0,0,0,0,1
};

int led_map [8][MAX_LED_MATRIX_COL*MAP_INTERVAL] = {
    {0,0,0,0,0,0,0,0,0,0,0,0,0,0,0,0, 1,0,0,0,0,0,0,0,0,0,0,0,0,0,0,0, 0,0,0,0,1,0,0,0,0,0,0,0,0,0,0,0, 1,0,0,0,0,0,0,0,0,0,0,0,0,0,0,0,        0,0,0,0,1,0,0,0,0,0,0,0,0,0,0,0, 0,0,0,0,0,0,0,0,0,0,0,1,0,0,0,0, 1,0,0,0,0,0,1,0,1,1,1,0,0,0,0,0, 0,0,0,0,0,0,0,0,0,0,0,0,0,0,0,0, 0,0,0,0,0,1,0,0,0,0,0,0,0,0,0,0, 0,0,0,0,0,0,0,0,0,0,0,0,0,0,0,0, 0,0,0,0,0,0,0,0,0,0,0,0,0,0,0,0, 0,0,0,0,1,1,0,0,0,0,0,0,0,0,0,0,       1,0,0,0,0,0,0,0,0,0,0,0,0,1,0,1},
    {0,0,0,0,0,0,0,0,0,0,0,0,0,0,0,0, 1,0,0,0,0,0,0,0,0,0,0,0,0,0,0,0, 0,0,0,0,1,0,0,0,0,0,0,0,0,0,0,0, 1,0,0,0,0,0,0,0,0,0,0,0,0,0,0,0,        0,0,0,0,0,1,0,0,0,0,0,0,0,0,0,0, 0,0,0,0,0,0,0,0,0,0,0,1,0,0,0,0, 1,1,0,0,0,1,1,0,0,1,0,0,0,0,0,0, 0,0,0,0,0,0,0,0,0,0,0,0,0,0,0,0, 0,0,0,0,0,1,0,0,0,0,0,0,0,0,0,0, 0,0,0,0,0,0,0,0,0,0,0,0,0,0,0,0, 0,0,0,0,0,0,0,0,0,0,0,0,0,0,0,0, 0,0,0,0,1,1,0,0,0,0,0,0,0,0,0,0,       1,0,0,0,0,0,0,0,0,0,0,0,0,1,0,1},  
    {0,0,0,0,0,0,0,0,0,0,0,0,0,0,0,0, 1,0,0,0,0,0,0,0,0,0,0,0,0,0,0,0, 0,0,0,0,1,0,0,0,0,0,0,0,0,0,0,0, 1,0,0,0,0,0,0,0,0,0,0,0,0,0,0,0,        0,0,0,0,0,0,1,0,0,0,0,0,0,0,0,0, 0,0,0,0,0,0,0,0,0,0,0,1,0,0,0,0, 1,0,1,0,1,0,1,0,0,1,0,0,0,0,0,0, 0,1,1,0,0,1,1,1,0,0,0,0,0,1,1,0, 0,0,0,0,0,1,0,0,0,0,1,1,0,0,0,0, 0,0,0,0,0,0,0,0,0,1,1,1,1,0,0,0, 0,1,1,0,1,1,0,0,0,0,0,0,0,0,0,0, 0,0,0,0,1,1,0,0,0,0,0,0,0,0,0,0,       1,0,0,0,0,0,0,0,0,0,0,0,0,1,0,1},
    {0,0,0,0,0,0,0,0,0,0,0,0,0,0,0,0, 1,0,0,0,0,0,0,0,0,1,0,0,0,0,0,0, 0,0,0,0,0,0,0,0,0,0,0,0,0,0,0,0, 1,0,0,0,0,0,0,0,0,0,0,1,0,0,0,0,        0,0,0,0,0,0,0,1,0,0,0,0,0,0,0,0, 0,0,0,0,1,0,0,0,0,0,0,0,0,0,0,0, 1,0,0,1,0,0,1,0,0,1,0,0,0,0,0,0, 1,0,0,1,0,1,0,0,1,0,0,0,1,0,0,1, 0,0,0,0,0,1,0,0,0,1,0,0,1,0,0,0, 0,0,0,1,0,0,0,1,0,1,0,0,0,0,0,0, 1,0,0,1,0,0,1,0,0,0,0,0,0,0,0,0, 0,0,0,0,1,1,0,0,0,0,0,0,0,0,0,0,       0,0,0,0,0,0,0,0,0,0,0,0,0,1,0,1}, 
    {0,0,0,0,0,0,0,0,0,0,0,0,0,0,0,0, 1,0,0,0,0,0,0,0,0,1,0,0,0,0,0,0, 0,0,0,0,0,0,0,0,0,0,0,0,0,0,0,0, 1,0,0,0,0,0,0,0,0,0,1,0,0,0,0,0,        0,0,0,0,0,0,0,0,1,0,0,0,0,0,0,0, 0,0,0,0,1,0,0,0,0,0,0,0,0,0,0,0, 1,0,0,0,0,0,1,0,0,1,0,0,0,0,0,1, 0,0,0,0,0,1,0,0,1,0,0,1,0,0,0,0, 1,0,0,0,0,1,1,1,0,1,0,0,1,0,0,0, 0,0,0,1,0,0,0,1,0,1,1,1,1,0,0,0, 1,0,0,1,0,0,1,0,0,0,0,0,0,0,0,0, 0,0,0,0,1,1,0,0,0,0,0,0,0,0,0,0,       0,0,0,0,0,0,0,0,0,0,0,0,0,1,0,1}, 
    {0,0,0,0,0,0,0,1,0,0,0,0,0,0,0,0, 0,0,0,0,0,0,0,0,0,1,0,0,0,0,0,0, 0,0,0,0,0,0,0,0,0,0,0,0,0,0,0,0, 0,0,0,0,0,0,0,0,0,1,0,0,0,0,0,0,        0,0,0,0,0,0,0,0,0,1,0,0,0,0,0,1, 0,0,0,0,0,0,0,0,0,0,0,1,0,0,0,0, 1,0,0,0,0,0,1,0,1,1,1,0,0,0,0,1, 0,0,0,0,0,1,1,1,0,0,0,1,0,0,0,0, 1,0,0,0,0,0,0,0,0,0,1,1,0,0,0,0, 0,0,0,1,0,0,0,1,0,1,0,0,0,0,0,0, 0,1,0,0,0,1,0,0,0,0,0,0,0,0,0,0, 0,0,0,0,1,1,0,0,0,0,1,1,0,0,0,0,       1,0,0,0,0,0,0,0,0,0,0,0,0,1,0,1},
    {0,0,0,0,0,0,0,1,0,0,0,0,0,0,0,0, 0,0,0,0,0,0,0,0,0,1,0,0,0,0,0,0, 0,0,0,0,0,0,0,0,0,0,0,0,0,0,0,0, 0,0,0,0,0,0,0,0,1,0,0,0,0,0,0,0,        0,0,0,0,0,0,0,0,0,0,0,0,0,0,0,1, 0,0,0,0,0,0,0,0,0,0,0,1,0,0,0,0, 0,0,0,0,0,0,0,0,0,0,0,0,0,0,0,0, 1,0,0,1,0,1,0,0,1,0,0,0,1,0,0,1, 0,0,0,0,0,0,0,0,0,0,0,0,0,0,0,0, 0,0,0,0,1,0,1,0,0,1,1,1,1,0,0,0, 0,0,1,0,1,0,0,0,0,0,0,0,0,0,0,0, 0,0,0,0,0,0,0,0,0,0,1,1,0,0,0,0,       1,0,0,0,0,0,0,0,0,0,0,0,0,1,0,1},  
    {0,0,0,0,0,0,0,1,0,0,0,0,0,0,0,0, 0,0,0,0,0,0,0,0,0,1,0,0,0,0,0,0, 0,0,0,0,0,0,0,0,0,0,0,0,0,0,0,0, 0,0,0,0,0,0,0,1,0,0,0,0,0,0,0,0,        0,0,0,0,0,0,0,0,0,0,0,0,0,0,0,1, 0,0,0,0,0,0,0,0,0,0,0,1,0,0,0,0, 0,0,0,0,0,0,0,0,0,0,0,0,0,0,0,0, 0,1,1,0,0,1,0,0,0,1,0,0,0,1,1,0, 0,0,0,0,0,0,0,0,0,0,0,0,0,0,0,0, 0,0,0,0,0,1,0,0,0,0,0,0,0,0,0,0, 0,0,0,1,0,0,0,0,0,0,0,0,0,0,0,0, 0,0,0,0,0,0,0,0,0,0,1,1,0,0,0,0,       1,0,0,0,0,0,0,0,0,0,0,0,0,1,0,1}
};

int getMapLength(){
    return MAX_LED_MATRIX_COL*MAP_INTERVAL;
}
```

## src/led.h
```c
#include <zephyr/drivers/led.h>
#include <zephyr/drivers/kscan.h>
#include <zephyr/devicetree.h>
#include <zephyr/kernel.h>

#define MAX_LED_MATRIX_IDX 10
#define MAX_LED_NUM 128
#define MAX_LED_MATRIX_NUM 64

#define TENS_START_INDEX 0
#define UNITS_START_INDEX 8

#define LED_NODE DT_COMPAT_GET_ANY_STATUS_OKAY(holtek_ht16k33)
#define KEY_NODE DT_CHILD(LED_NODE, keyscan)

static const struct device *const led = DEVICE_DT_GET(LED_NODE);

int led_init(void);
void led_on_seconds(int seconds);
void led_on_result();
```
